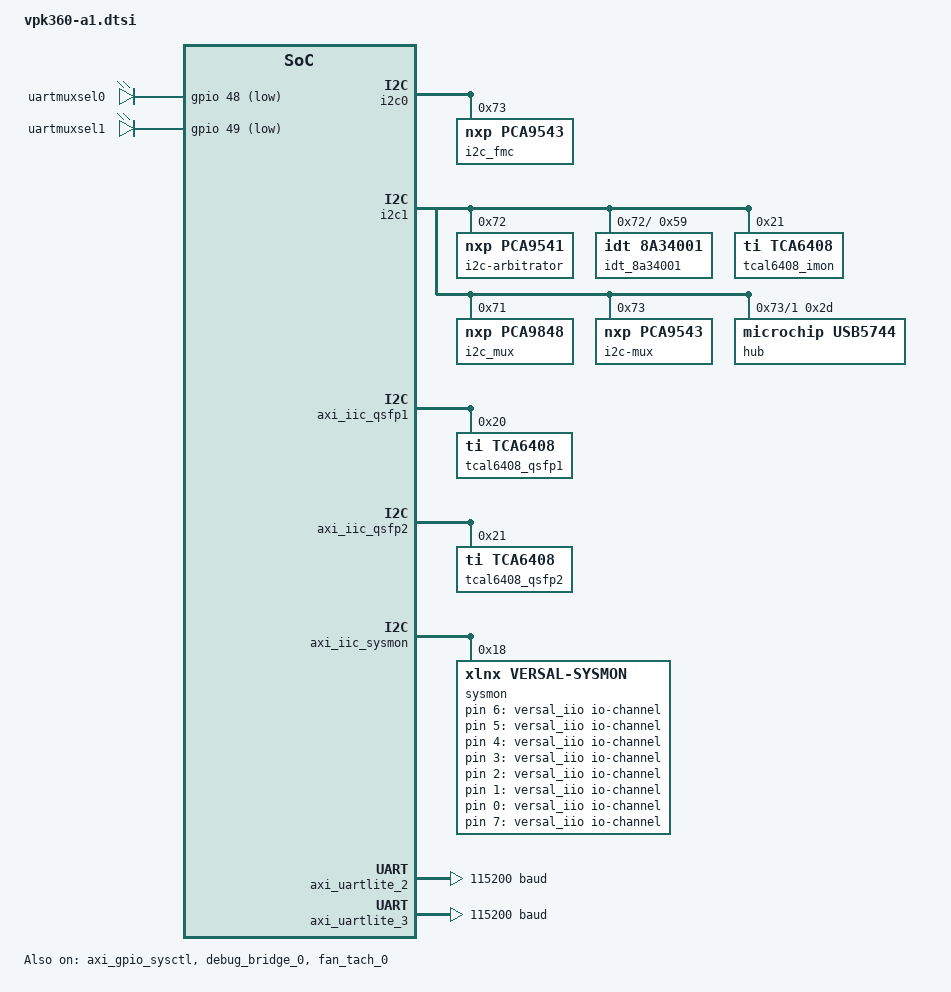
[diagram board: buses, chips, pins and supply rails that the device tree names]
// SPDX-License-Identifier: GPL-2.0
/*
 * dts file for SC on VPK360 revA (k24)
 *
 * (C) Copyright 2026, Advanced Micro Devices, Inc.
 *
 * Michal Simek <michal.simek@amd.com>
 */

/dts-v1/;
/plugin/;

&{/} {
	compatible = "xlnx,zynqmp-sc-vpk360-revA",
		     "xlnx,zynqmp-sc-vpk360", "xlnx,zynqmp";
	model = "ZynqMP SC VPK360 revA";

	versal_iio: versal {
		compatible = "iio-hwmon";
		io-channels = <&sysmon 6>, <&sysmon 5>, <&sysmon 4>,
				<&sysmon 3>, <&sysmon 2>, <&sysmon 1>,
				<&sysmon 0>, <&sysmon 7>, <&sysmon 8>;
	};

	leds-um {
		compatible = "gpio-leds";
		um0-led {
			label = "uartmuxsel0";
			gpios = <&gpio 48 1>;
			default-state = "off";
		};

		um1-led {
			label = "uartmuxsel1";
			gpios = <&gpio 49 1>;
			default-state = "off";
		};
	};
};

&i2c0 { /* fmc_mux_i2c0 */
	#address-cells = <1>;
	#size-cells = <0>;

	i2c_fmc: i2c-mux@73 { /* u676 */
		compatible = "nxp,pca9543";
		#address-cells = <1>;
		#size-cells = <0>;
		reg = <0x73>;

		fmc_lpc_i2c: i2c@0 {
			#address-cells = <1>;
			#size-cells = <0>;
			reg = <0>;
		};

		fmc_hpc_i2c: i2c@1 {
			#address-cells = <1>;
			#size-cells = <0>;
			reg = <1>;
		};
	};
};

&i2c1 {
	#address-cells = <1>;
	#size-cells = <0>;
	status = "okay";

	i2c-arbitrator@72 { /* u704 */
		compatible = "nxp,pca9541";
		reg = <0x72>;

        i2c-arb {
            #address-cells = <1>;
            #size-cells = <0>;
            /* board_i2c1 */

			idt_8a34001: phc@59 { /* u219B */
				compatible = "idt,8a34001";
				reg = <0x59>;
			};
		};
	};

	tcal6408_imon: gpio@21 { /* u671 */
		compatible = "ti,tca6408";
		reg = <0x21>;
		gpio-controller; /* IRQ not connected */
		#gpio-cells = <2>;
		gpio-line-names = "PMBUS_REG_ALERT", "IMON_PMC_ALERT",
				  "IMON_LPD_ALERT", "IMON_SPD_ALERT",
				  "IMON_FPD_ALERT", "IMON_PL_ALERT",
				  "IMON_LP5_ALERT", "8A34001_EXP_RST_B";
	};

	i2c_mux: i2c-mux@71 { /* u685 */
		compatible = "nxp,pca9848";
		#address-cells = <1>;
		#size-cells = <0>;
		reg = <0x71>;

		pmbus_i2c: i2c@0 {
			#address-cells = <1>;
			#size-cells = <0>;
			reg = <0>;
			/* 0x40 mpq72963 - u499 */
			/* 0x3b mpq2285 - u653 */
			/* 0x41 mpq72963 - u516 */
			/* 0x1c mpq2283 - u655 */
			/* 0x1 mpq2285 - u527 */
			/* 0x2b mpq2283 - u529 */
			/* 0x1f mpq2283 - u531 */
			/* 0x22 mpq2285 - u533 */
			/* 0x32 mpq2283 - u535 */
			/* 0x39 mpq2283 - u537 */
			/* 0x2d mpq2283 - u539 */
			/* 0x34 mpq2285 - u541 */
			/* 0x2a mpq2283 - u543 */
			/* 0x17 mpq2283 - u545 */
			/* 0x38 mpq2283 - u657 */
			/* 0x2e mpq2287 - u547 */
			/* 0x4 mpq2283 - u549 */
		};
		imon_pmc_i2c: i2c@1 {
			#address-cells = <1>;
			#size-cells = <0>;
			reg = <1>;
			/* 0x45 ina700 - u544 */
			/* 0x47 ina700 - u546 */
			/* 0x44 ina700 - u658 */
		};
		imon_lpd_i2c: i2c@2 {
			#address-cells = <1>;
			#size-cells = <0>;
			reg = <2>;
			/* 0x44 ina700 - u538 */
			/* 0x45 ina700 - u540 */
		};
		imon_spd_i2c: i2c@3 {
			#address-cells = <1>;
			#size-cells = <0>;
			reg = <3>;
			/* 0x43 ina745 - u522 */
			/* 0x45 ina700 - u530 */
			/* 0x47 ina700 - u532 */
			/* 0x44 ina700 - u534 */
		};
		imon_fpd_i2c: i2c@4 {
			#address-cells = <1>;
			#size-cells = <0>;
			reg = <4>;
			/* 0x45 ina700 - u654 */
			/* 0x42 ina745 - u518 */
			/* 0x43 ina745 - u524 */
			/* 0x47 ina700 - u656 */
			/* 0x44 ina700 - u536 */
		};
		imon_pl_i2c: i2c@5 {
			#address-cells = <1>;
			#size-cells = <0>;
			reg = <5>;
			/* 0x48 ina745 - u501 */
			/* 0x49 ina745 - u503 */
			/* 0x4a ina745 - u505 */
			/* 0x4b ina745 - u507 */
			/* 0x4c ina745 - u509 */
			/* 0x4d ina745 - u511 */
			/* 0x42 ina745 - u513 */
			/* 0x43 ina745 - u515 */
			/* 0x44 ina700 - u528 */
			/* 0x45 ina700 - u542 */
		};
		imon_lp5_i2c: i2c@6 {
			#address-cells = <1>;
			#size-cells = <0>;
			reg = <6>;
			/* 0x44 ina700 - u548 */
			/* 0x45 ina700 - u550 */
		};
		pwr_seq_i2c: i2c@7 {
			#address-cells = <1>;
			#size-cells = <0>;
			reg = <7>;
			/* 0x60 ucd9081 - u565 */
			/* 0x61 ucd9081 - u568 */
			/* 0x62 ucd9081 - u660 */
			/* 0x64 ucd9081 - u571 */
		};
	};

	i2c-mux@73 { /* u626 */
		compatible = "nxp,pca9543";
		#address-cells = <1>;
		#size-cells = <0>;
		reg = <0x73>;

		rc31312_i2c: i2c@0 {
			#address-cells = <1>;
			#size-cells = <0>;
			reg = <0>;
			/* rc31312 - u637 */
			/* rc19004a - u640 */
		};

		i2c_hub: i2c@1 {
			#address-cells = <1>;
			#size-cells = <0>;
			reg = <1>;
			hub: usb-hub@2d { /* u471 */
				compatible = "microchip,usb5744";
				reg = <0x2d>;
			};
		};
	};
};

&eeprom_cc { /* u669 - m24128 16kB */
	compatible = "st,24c128", "atmel,24c128";
};

&fpga_full {
	firmware-name = "vpk360-a1.bin";
	clocking0: clocking0 {
		compatible = "xlnx,fclk";
		status = "okay";
		assigned-clocks = <&zynqmp_clk 71>;
		assigned-clock-rates = <99999999>;
		#clock-cells = <0>;
		clock-output-names = "fabric_clk";
		clocks = <&zynqmp_clk 71>;
	};
	afi0: afi0 {
		status = "okay";
		compatible = "xlnx,afi-fpga";
		resets = <&zynqmp_reset 116>, <&zynqmp_reset 117>, <&zynqmp_reset 118>, <&zynqmp_reset 119>;
		config-afi = < 0 0>, <1 0>, <2 0>, <3 0>, <4 0>, <5 0>, <6 0>, <7 0>, <8 0>, <9 0>, <10 0>, <11 0>, <12 0>, <13 0>, <14 0xa00>, <15 0x000>;
	};
};

&amba {
	ranges;
	compatible = "simple-bus";
	#address-cells = <2>;
	#size-cells = <2>;
	axi_gpio_sysctl: gpio@80020000 {
		#interrupt-cells = <2>;
		interrupts = < 0 94 4 >;
		xlnx,gpio-board-interface = "Custom";
		compatible = "xlnx,axi-gpio-2.0" , "xlnx,xps-gpio-1.00.a";
		xlnx,all-outputs = <0>;
		#gpio-cells = <2>;
		xlnx,gpio-width = <21>;
		interrupt-parent = <&gic>;
		xlnx,dout-default = <0x8000>;
		xlnx,is-dual = <0>;
		xlnx,ip-name = "axi_gpio";
		xlnx,tri-default-2 = <0xffffffff>;
		reg = <0x0 0x80020000 0x0 0x10000>;
		xlnx,all-inputs-2 = <0>;
		clocks = <&zynqmp_clk 71>;
		xlnx,all-outputs-2 = <0>;
		gpio-controller;
		device_type = "gpio";
		xlnx,interrupt-present = <1>;
		xlnx,gpio2-board-interface = "Custom";
		xlnx,edk-iptype = "PERIPHERAL";
		xlnx,dout-default-2 = <0x0>;
		status = "okay";
		xlnx,gpio2-width = <32>;
		clock-names = "s_axi_aclk";
		interrupt-controller;
		interrupt-names = "ip2intc_irpt";
		xlnx,tri-default = <0xffffefff>;
		xlnx,name = "axi_gpio_sysctl";
		xlnx,all-inputs = <0>;
		gpio-line-names =
			/*  0 -  3 */ "DPL_EN", "DSPD_EN", "DFPD_EN", "SYSCTRL_GPI6",
			/*  4 -  7 */ "SYSCTRL_GPI7", "PCIE_RP_CLK_SEL", "SYSCTRL_GPI4", "SYSCTRL_GPI5",
			/*  8 - 11 */ "EEPROM_WP", "SYSCTRL_GPO0", "SYSCTRL_GPO1", "PMC_EN",
			/* 12 - 15 */ "SYSCTRL_GPO2", "SYSCTRL_GPO3", "DLPD_EN", "USB_MUX_SEL",
			/* 16 - 19 */ "PCIE_EP_CLK_SEL", "FMC_HPC_PRSNT_M2C_B", "FMC_HPC_HSPC_PRSNT_M2C_B", "FMC_LPC_PRSNT_M2C_B",
			/* 20 */ "FMC_LPC_HSPC_PRSNT_M2C_B";
	};
	axi_iic_qsfp1: i2c@80000000 {
		interrupts = < 0 96 4 >;
		xlnx,iic-freq-khz = <100>;
		compatible = "xlnx,axi-iic-2.1" , "xlnx,xps-iic-2.00.a";
		xlnx,scl-inertial-delay = <0>;
		interrupt-parent = <&gic>;
		xlnx,ip-name = "axi_iic";
		xlnx,disable-setup-violation-check = <0>;
		reg = <0x0 0x80000000 0x0 0x10000>;
		clocks = <&zynqmp_clk 71>;
		xlnx,gpo-width = <1>;
		xlnx,s-axi-aclk-freq-hz = <0x5f5dd19>;
		xlnx,edk-iptype = "PERIPHERAL";
		xlnx,static-timing-reg-width = <0>;
		xlnx,sda-level = <1>;
		status = "okay";
		clock-names = "s_axi_aclk";
		xlnx,ten-bit-adr = <0>;
		xlnx,default-value = <0x0>;
		interrupt-names = "iic2intc_irpt";
		xlnx,iic-board-interface = "Custom";
		xlnx,timing-reg-width = <32>;
		xlnx,iic-freq = <100000>;
		xlnx,smbus-pmbus-host = <0>;
		xlnx,name = "axi_iic_qsfp1";
		xlnx,axi-aclk-freq-mhz = <0x5f5dd19>;
		xlnx,sda-inertial-delay = <0>;

		tcal6408_qsfp1: gpio@20 { /* u672 */
			compatible = "ti,tca6408";
			reg = <0x20>;
			gpio-controller; /* IRQ not connected */
			#gpio-cells = <2>;
				gpio-line-names =
					/* 0 - 3 */ "QSFP1_MODSELL", "QSFP1_RESETL", "QSFP1_MODPRSL", "QSFP1_INTL",
					/* 4 - 7 */ "QSFP1_INITMODE", "", "", "";
		};
	};
	axi_iic_qsfp2: i2c@80030000 {
		interrupts = < 0 95 4 >;
		xlnx,iic-freq-khz = <100>;
		compatible = "xlnx,axi-iic-2.1" , "xlnx,xps-iic-2.00.a";
		xlnx,scl-inertial-delay = <0>;
		interrupt-parent = <&gic>;
		xlnx,ip-name = "axi_iic";
		xlnx,disable-setup-violation-check = <0>;
		reg = <0x0 0x80030000 0x0 0x10000>;
		clocks = <&zynqmp_clk 71>;
		xlnx,gpo-width = <1>;
		xlnx,s-axi-aclk-freq-hz = <0x5f5dd19>;
		xlnx,edk-iptype = "PERIPHERAL";
		xlnx,static-timing-reg-width = <0>;
		xlnx,sda-level = <1>;
		status = "okay";
		clock-names = "s_axi_aclk";
		xlnx,ten-bit-adr = <0>;
		xlnx,default-value = <0x0>;
		interrupt-names = "iic2intc_irpt";
		xlnx,iic-board-interface = "Custom";
		xlnx,timing-reg-width = <32>;
		xlnx,iic-freq = <100000>;
		xlnx,smbus-pmbus-host = <0>;
		xlnx,name = "axi_iic_qsfp2";
		xlnx,axi-aclk-freq-mhz = <0x5f5dd19>;
		xlnx,sda-inertial-delay = <0>;

		tcal6408_qsfp2: gpio@21 { /* u673 */
			compatible = "ti,tca6408";
			reg = <0x21>;
			gpio-controller; /* IRQ not connected */
			#gpio-cells = <2>;
			gpio-line-names =
				/* 0 - 3 */ "QSFP2_MODSELL", "QSFP2_RESETL", "QSFP2_MODPRSL", "QSFP2_INTL",
				/* 4 - 7 */ "QSFP2_INITMODE", "", "", "";
		};
	};
	axi_iic_sysmon: i2c@80060000 {
		interrupts = < 0 93 4 >;
		xlnx,iic-freq-khz = <100>;
		compatible = "xlnx,axi-iic-2.1" , "xlnx,xps-iic-2.00.a";
		xlnx,scl-inertial-delay = <0>;
		interrupt-parent = <&gic>;
		xlnx,ip-name = "axi_iic";
		xlnx,disable-setup-violation-check = <0>;
		reg = <0x0 0x80060000 0x0 0x10000>;
		clocks = <&zynqmp_clk 71>;
		xlnx,gpo-width = <1>;
		xlnx,s-axi-aclk-freq-hz = <0x5f5dd19>;
		xlnx,edk-iptype = "PERIPHERAL";
		xlnx,static-timing-reg-width = <0>;
		xlnx,sda-level = <1>;
		status = "okay";
		clock-names = "s_axi_aclk";
		xlnx,ten-bit-adr = <0>;
		xlnx,default-value = <0x0>;
		interrupt-names = "iic2intc_irpt";
		xlnx,iic-board-interface = "Custom";
		xlnx,timing-reg-width = <32>;
		xlnx,iic-freq = <100000>;
		xlnx,smbus-pmbus-host = <0>;
		xlnx,name = "axi_iic_sysmon";
		xlnx,axi-aclk-freq-mhz = <0x5f5dd19>;
		xlnx,sda-inertial-delay = <0>;

		sysmon: i2c@18 {
			#address-cells = <1>;
			#size-cells = <0>;
			compatible = "xlnx,versal-sysmon";
			reg = <0x18>;
			xlnx,numchannels = [07];
			status = "okay";
			#io-channel-cells = <1>;
			supply@0 {
				reg = <0>;
				xlnx,name = "vccaux";
			};
			supply@1 {
				reg = <1>;
				xlnx,name = "vccaux_pmc";
			};
			supply@2 {
				reg = <2>;
				xlnx,name = "vcc_pmc";
			};
			supply@3 {
				reg = <3>;
				xlnx,name = "vcc_psfp";
			};
			supply@4 {
				reg = <4>;
				xlnx,name = "vcc_pslp";
			};
			supply@5 {
				reg = <5>;
				xlnx,name = "vcc_soc";
			};
			supply@6 {
				reg = <6>;
				xlnx,name = "vp_vn";
			};
		};
	};
	axi_uartlite_2: serial@80070000 {
		interrupts = < 0 104 1 >;
		compatible = "xlnx,axi-uartlite-2.0" , "xlnx,xps-uartlite-1.00.a";
		port-number = <0>;
		xlnx,uartlite-board-interface = "Custom";
		xlnx,s-axi-aclk-freq-hz-d = <0x5f5dd19>;
		interrupt-parent = <&gic>;
		xlnx,ip-name = "axi_uartlite";
		reg = <0x0 0x80070000 0x0 0x10000>;
		xlnx,baudrate = <115200>;
		clocks = <&zynqmp_clk 71>;
		current-speed = <115200>;
		device_type = "serial";
		xlnx,use-parity = <0>;
		xlnx,edk-iptype = "PERIPHERAL";
		xlnx,odd-parity = <0>;
		status = "okay";
		clock-names = "s_axi_aclk";
		interrupt-names = "interrupt";
		xlnx,name = "axi_uartlite_2";
		xlnx,data-bits = <8>;
		xlnx,parity = "No_Parity";
	};
	axi_uartlite_3: serial@80050000 {
		interrupts = < 0 91 1 >;
		compatible = "xlnx,axi-uartlite-2.0" , "xlnx,xps-uartlite-1.00.a";
		port-number = <1>;
		xlnx,uartlite-board-interface = "Custom";
		xlnx,s-axi-aclk-freq-hz-d = <0x5f5dd19>;
		interrupt-parent = <&gic>;
		xlnx,ip-name = "axi_uartlite";
		reg = <0x0 0x80050000 0x0 0x10000>;
		xlnx,baudrate = <115200>;
		clocks = <&zynqmp_clk 71>;
		current-speed = <115200>;
		device_type = "serial";
		xlnx,use-parity = <0>;
		xlnx,edk-iptype = "PERIPHERAL";
		xlnx,odd-parity = <0>;
		status = "okay";
		clock-names = "s_axi_aclk";
		interrupt-names = "interrupt";
		xlnx,name = "axi_uartlite_3";
		xlnx,data-bits = <8>;
		xlnx,parity = "No_Parity";
	};
	debug_bridge_0: debug_bridge@80010000 {
		xlnx,xvc-sw-id = <0x1>;
		xlnx,fifo-style = "SUBCORE";
		compatible = "xlnx,debug-bridge-3.0" , "generic-uio";
		xlnx,pcie-ext-cfg-next-ptr = <0x0>;
		xlnx,num-bs-master = <0>;
		xlnx,pcie-ext-cfg-vsec-id = <0x8>;
		xlnx,major-version = <14>;
		xlnx,bscan-mux = <1>;
		xlnx,xvc-hw-id = <0x1>;
		xlnx,device-family = <0>;
		xlnx,dclk-has-reset = <0>;
		xlnx,ip-name = "debug_bridge";
		xlnx,ir-width = <0>;
		reg = <0x0 0x80010000 0x0 0x10000>;
		xlnx,core-minor-alpha-ver = <97>;
		clocks = <&zynqmp_clk 71>;
		xlnx,xsdb-num-slaves = <0>;
		xlnx,en-int-sim = <1>;
		xlnx,clk-input-freq-hz = <300000000>;
		xlnx,ir-id-instr = <0>;
		xlnx,edk-iptype = "PERIPHERAL";
		xlnx,pcie-ext-cfg-base-addr = <0x400>;
		xlnx,build-revision = <0>;
		xlnx,use-softbscan = <1>;
		xlnx,ir-user1-instr = <0>;
		xlnx,core-minor-ver = <0>;
		xlnx,pcie-ext-cfg-vsec-rev-id = <0x0>;
		status = "okay";
		xlnx,chip-id = <0>;
		clock-names = "s_axi_aclk";
		xlnx,use-ext-bscan;
		xlnx,tck-clock-ratio = <8>;
		xlnx,minor-version = <1>;
		xlnx,en-passthrough = <0>;
		xlnx,core-type = <1>;
		xlnx,user-scan-chain = <1>;
		xlnx,use-bufr = <0>;
		xlnx,pcie-ext-cfg-vsec-length = <0x20>;
		xlnx,master-intf-type = <1>;
		xlnx,design-type = <0>;
		xlnx,debug-mode = <3>;
		xlnx,name = "debug_bridge_0";
		xlnx,core-major-ver = <1>;
	};
	fan_tach_0: fan_tach@80080000 {
		interrupt-parent = <&gic>;
		interrupts = < 0 89 4 0 90 4 >;
		compatible = "xlnx,fan-tach-1.0";
		status = "okay";
		clock-names = "clk";
		xlnx,ip-name = "fan_tach";
		interrupt-names = "interrupt_fan_fail" , "interrupt_pwm_det";
		xlnx,edk-iptype = "PERIPHERAL";
		reg = <0x0 0x80080000 0x0 0x1000 0x0 0x80081000 0x0 0x1000 0x0 0x80082000 0x0 0x1000>;
		clocks = <&zynqmp_clk 71>;
		xlnx,name = "fan_tach_0";
	};
};
